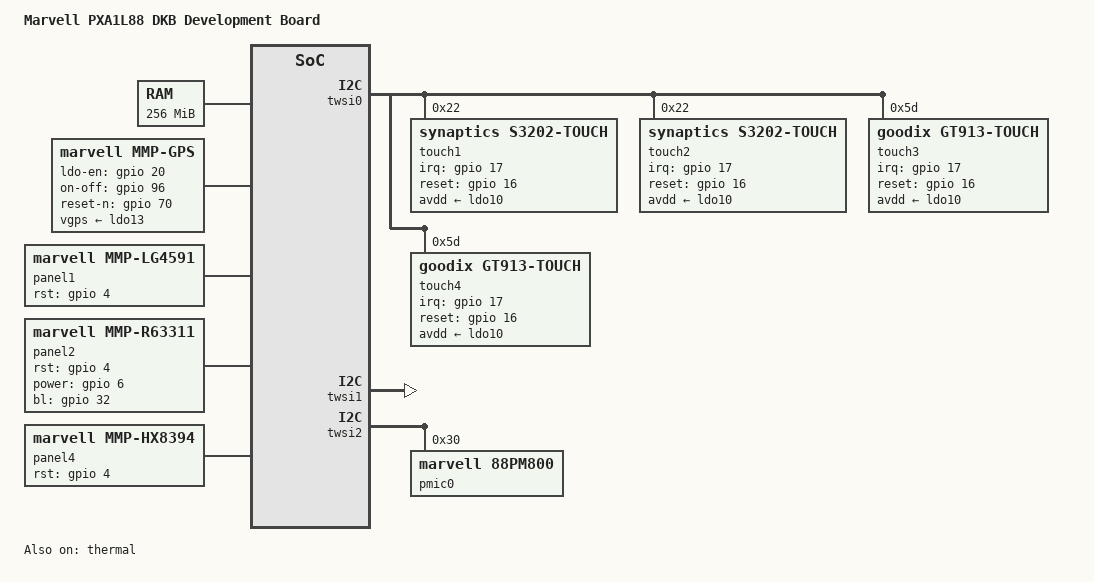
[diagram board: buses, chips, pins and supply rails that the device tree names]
/*
 *  Copyright (C) 2012 Marvell Technology Group Ltd.
 *  Author: Haojian Zhuang <haojian.zhuang@marvell.com>
 *
 *  This program is free software; you can redistribute it and/or modify
 *  it under the terms of the GNU General Public License version 2 as
 *  publishhed by the Free Software Foundation.
 */

#include "pxa1088.dtsi"

/ {
	model = "Marvell PXA1L88 DKB Development Board";

	chosen {
		bootargs = "console=ttyS0,115200 root=/dev/nfs nfsroot=192.168.1.100:/nfsroot/ ip=192.168.1.101:192.168.1.100::255.255.255.0::eth0:on";
	};

	memory {
		reg = <0x00000000 0x10000000>;
	};

	soc {
		ddr@c0100000 {  /* DDR memory controller */
			status = "okay";
		};

		apb@d4000000 {
			edgewakeup: edgewakeup@d4019800 {
				status = "ok";
			};

			keypad: keypad@d4012000 {
				keypad,num-rows = <2>;
				keypad,num-columns = <1>;
				linux,keymap = <0x00000073
						0x01000072>;
				marvell,debounce-interval = <30>;
				pinctrl-names = "default";
				pinctrl-0 = <&keypad_in_func  &keypad_out_func>;
				status = "okay";
			};

			keyreset {
				compatible = "marvell,keyreset";
				keys-down = <0x73 0x72>;
				keyreset-need-panic;
			};

			thermal: thermal@d4013200 {
				compatible = "marvell,pxa-thermal";
				reg = <0xd4013200 0x50>;
				interrupts = <0 60 0x4>;
				trigger_levels_count = <4>;
				type = <2>;
				status = "ok";
			};

			pmx: pinmux@d401e000 {
				/* pin base, nr pins & gpio function */
				pinctrl-single,gpio-range = <
					/*
					 * GPIO number is hardcoded for range at here.
					 * In gpio chip, GPIO number is not hardcoded for range.
					 * Since one gpio pin may be routed to multiple pins,
					 * define these gpio range in pxa910-dkb.dts not pxa910.dtsi.
					 */
					&range 55 55 0	/* GPIO0 ~ GPIO54 */
					&range 110 32 0 /* GPIO67 ~ GPIO98 */
					&range 52 1 0	/* GPIO124 */
				>;
				pinctrl-names = "default";
				pinctrl-0 = <&mfp_pins_group_0 &mfp_pins_group_1 &mfp_pins_group_2 &mfp_pins_group_3 &mfp_pins_group_4 &mfp_pins_group_5 &mfp_pins_group_6 &mfp_pins_group_7>;
				/* MFP_LPM_FLOAT */
				mfp_pins_group_0: mfp_pins_group_0 {
					pinctrl-single,pins = <
						DF_IO8 AF0
						DF_IO9 AF0
						DF_IO10 AF0
						DF_IO11 AF0
						DF_IO12 AF0
						DF_IO13 AF0
						DF_IO14 AF0
						DF_IO15 AF0
						DF_WEn AF1
						DF_REn AF1
						DF_ALE_SM_WEn AF1
						DF_RDY0 AF0
					>;
					MFP_LPM_FLOAT;
				};

				/* MFP_PULL_LOW && MFP_LPM_PULL_FLOAT */
				mfp_pins_group_1: mfp_pins_group_1 {
					pinctrl-single,pins = <
						DF_nCS0_SM_nCS2 AF0
						DF_nCS1_SM_nCS3 AF1
						SM_nCS1 AF1
						GPIO15 AF0
						GPIO72 AF0
					>;
					DS_MEDIUM;PULL_DOWN;EDGE_NONE;LPM_FLOAT;
				};

				/* MFP_PULL_LOW && LPM_OUTPUT_DRIVE_LOW */
				mfp_pins_group_2: mfp_pins_group_2 {
					pinctrl-single,pins = <
						GPIO18 AF0
					>;
					DS_MEDIUM;PULL_DOWN;EDGE_NONE;LPM_DRIVE_LOW;
				};

				/* MFP_PULL_LOW */
				mfp_pins_group_3: mfp_pins_group_3 {
					pinctrl-single,pins = <
						GPIO70 AF0
						GPIO97 AF0
						GPIO43 AF0
						GPIO44 AF0
						GPIO49 AF0
						GPIO50 AF0
						GPIO90 AF0
						GPIO92 AF0
						GPIO98 AF0
					>;
					MFP_PULL_DOWN;
				};

				/* MFP_PULL_HIGH */
				mfp_pins_group_4: mfp_pins_group_4 {
					pinctrl-single,pins = <
						SM_RDY_GPIO_3 AF1
						GPIO14 AF0
						GPIO91 AF0
					>;
					MFP_PULL_UP;
				};

				/* MFP_PULL_FLOAT */
				mfp_pins_group_5: mfp_pins_group_5 {
					pinctrl-single,pins = <
						GPIO4 AF0
						GPIO20 AF0
						GPIO36 AF0
						GPIO96 AF0
						GPIO67 AF0
						GPIO68 AF0
						GPIO69 AF0
						GPIO80 AF0
					>;
					MFP_PULL_FLOAT;
				};

				/* MFP_PULL_FLOAT && MFP_LPM_PULL_FLOAT */
				mfp_pins_group_6: mfp_pins_group_6 {
					pinctrl-single,pins = <
						GPIO32 AF0
						GPIO12 AF0
					>;
					DS_MEDIUM;PULL_FLOAT;EDGE_NONE;LPM_FLOAT;
				};

				/* MFP_DEFAULT */
				mfp_pins_group_7: mfp_pins_group_7 {
					pinctrl-single,pins = <
						GPIO124 AF0
						GPIO3 AF0
						GPIO5 AF0
						GPIO6 AF0
						GPIO11 AF0
						GPIO13 AF0
						GPIO19 AF0
						GPIO10 AF0
						GPIO30 AF0
						GPIO31 AF0
						GPIO33 AF0
						GPIO34 AF0
						GPIO35 AF0
						GPIO51 AF1
						GPIO52 AF1
						GPIO73 AF0
						GPIO74 AF0
						GPIO75 AF0
						GPIO76 AF0
						GPIO77 AF1
						GPIO78 AF0
						GPIO79 AF0
					>;
					MFP_DEFAULT;
				};
				keypad_in_func: keypad_in_func {
					pinctrl-single,pins = <
						GPIO0 AF1
						GPIO2 AF1
					>;
					MFP_DEFAULT;
				};

				keypad_out_func: keypad_out_func {
					pinctrl-single,pins = <
						GPIO1 AF1
					>;
					DS_MEDIUM;PULL_FLOAT;EDGE_NONE;LPM_DRIVE_HIGH;
				};

				twsi0_pmx_func: twsi0_pmx_func {
					pinctrl-single,pins = <
						GPIO53 AF2
						GPIO54 AF2
					>;
					MFP_LPM_FLOAT;
				};
				twsi0_pmx_gpio: twsi0_pmx_gpio {
					pinctrl-single,pins = <
						GPIO53 AF0
						GPIO54 AF0
					>;
					MFP_LPM_FLOAT;
				};
				twsi1_pmx_func: twsi1_pmx_func {
					pinctrl-single,pins = <
						GPIO87 AF5
						GPIO88 AF5
					>;
					MFP_LPM_FLOAT;
				};
				twsi1_pmx_gpio: twsi1_pmx_gpio {
					pinctrl-single,pins = <
						GPIO87 AF0
						GPIO88 AF0
					>;
					MFP_LPM_FLOAT;
				};
				touch_pins: touch_pins {
					pinctrl-single,pins = <
						GPIO16 AF0
						GPIO17 AF0
					>;
					MFP_LPM_FLOAT;
				};

				gps_pmx_eclk: gps_pmx_eclk {
					/* eclk */
					pinctrl-single,pins = <
						GPIO89 AF5
					>;
					MFP_DEFAULT;
				};

				gps_pmx_gpio: gps_pmx_gpio {
					/* gpio */
					pinctrl-single,pins = <
						GPIO89 AF0
					>;
					MFP_DEFAULT;
				};

				/* no pull, no LPM */
				dvc_pmx_func: dvc_pmx_func {
					pinctrl-single,pins = <
						GPIO93 AF5
						GPIO94 AF5
					>;
					MFP_DEFAULT;
				};
			};

			twsi0: i2c@d4011000 {
				pinctrl-names = "default","gpio";
				pinctrl-0 = <&twsi0_pmx_func>;
				pinctrl-1 = <&twsi0_pmx_gpio>;
				i2c-gpio = <&gpio 53 0 &gpio 54 0>;
				status = "okay";

				touch1: s3202@720p {
					compatible = "synaptics,s3202-touch";
					pinctrl-names = "default"; pinctrl-0 = <&touch_pins>;
					reg = <0x22>;
					interrupt-parent = <&gpio>;
					interrupts = <17 0x1>;
					/* IRQF_ONESHOT | IRQF_TRIGGER_FALLING */
					synaptics,irq-flags =  <0x2002>;
					synaptics,irq-gpios = <&gpio 17 0>;
					synaptics,reset-gpios = <&gpio 16 0>;
					synaptics,sensor_res_x = <720>;
					synaptics,sensor_res_y = <1280>;
					synaptics,sensor_max_x = <798>;
					synaptics,sensor_max_y = <1392>;
					synaptics,sensor_margin_x = <39>;
					synaptics,sensor_margin_y = <0>;
					avdd-supply = <&ldo10>;
				};

				touch2: s3202@1080p {
					compatible = "synaptics,s3202-touch";
					pinctrl-names = "default"; pinctrl-0 = <&touch_pins>;
					reg = <0x22>;
					interrupt-parent = <&gpio>;
					interrupts = <17 0x1>;
					/* IRQF_ONESHOT | IRQF_TRIGGER_FALLING */
					synaptics,irq-flags =  <0x2002>;
					synaptics,irq-gpios = <&gpio 17 0>;
					synaptics,reset-gpios = <&gpio 16 0>;
					synaptics,sensor_res_x = <1080>;
					synaptics,sensor_res_y = <1920>;
					synaptics,sensor_max_x = <1080>;
					synaptics,sensor_max_y = <2070>;
					synaptics,sensor_margin_x = <0>;
					synaptics,sensor_margin_y = <0>;
					avdd-supply = <&ldo10>;
				};

				touch3: gt913@720p {
					compatible = "goodix,gt913-touch";
					pinctrl-names = "default"; pinctrl-0 = <&touch_pins>;
					reg = <0x5d>;
					interrupt-parent = <&gpio>;
					interrupts = <17 0x1>;
					irq-gpios = <&gpio 17 0>;
					reset-gpios = <&gpio 16 0>;
					goodix,cfg-group = <0>;
					goodix,max-height = <1280>;
					goodix,max-width = <720>;
					avdd-supply = <&ldo10>;
				};

				touch4: gt913@1080p {
					compatible = "goodix,gt913-touch";
					pinctrl-names = "default"; pinctrl-0 = <&touch_pins>;
					reg = <0x5d>;
					interrupt-parent = <&gpio>;
					interrupts = <17 0x1>;
					irq-gpios = <&gpio 17 0>;
					reset-gpios = <&gpio 16 0>;
					goodix,cfg-group = <0>;
					goodix,max-height = <1920>;
					goodix,max-width = <1080>;
					avdd-supply = <&ldo10>;
				};
			};

			twsi1: i2c@d4010800 {
				pinctrl-names = "default","gpio";
				pinctrl-0 = <&twsi1_pmx_func>;
				pinctrl-1 = <&twsi1_pmx_gpio>;
				i2c-gpio = <&gpio 87 0 &gpio 88 0>;
				status = "okay";
			};

			twsi2: i2c@d4037000 {
				status = "okay";

				pmic0: 88pm822@30 {
					compatible = "marvell,88pm800";
					reg = <0x30>;
					interrupts = <0 4 0x4>;
					interrupt-parent = <&gic>;
					interrupt-controller;
					#interrupt-cells = <1>;
					marvell,88pm800-irq-write-clear;
					dvc {
						pinctrl-names = "default";
						pinctrl-0 = <&dvc_pmx_func>;
						status = "okay";
					};
				};
			};
		};
	};

	gps: mmp-gps {
		compatible = "marvell,mmp-gps";
		marvell,gps-eclk-ctrl;

		vgps-supply = <&ldo13>;

		pinctrl-names = "default", "idle";
		pinctrl-0 = <&gps_pmx_eclk>;
		pinctrl-1 = <&gps_pmx_gpio>;

		ldo-en-gpio = <&gpio 20 0>;
		on-off-gpio = <&gpio 96 0>;
		reset-n-gpio = <&gpio 70 0>;
	};

	touch: vnc {
		compatible = "vnc-ts";
	};

	ion {
		marvell,ion-nr = <2>;
		status = "okay";
		heap1 {
			marvell,ion-name = "carveout_heap";
			marvell,ion-type = <2>;
			marvell,ion-id = <2>;
			marvell,ion-base = <0>;
			marvell,ion-size = <0>;
		};
		heap2 {
			marvell,ion-name = "system_heap";
			marvell,ion-type = <0>;
			marvell,ion-id = <0>;
		};
	};

	panel1: lg4591 {
		compatible = "marvell,mmp-lg4591";
		marvell,path-name = "mmp_pnpath";
		panel_esd = <0>;
		rst_gpio = <&gpio 4 0>;
		status = "okay";
	};

	panel2: r63311 {
		compatible = "marvell,mmp-r63311";
		marvell,path-name = "mmp_pnpath";
		marvell,ddrfreq-qos = <312000>; /* DDR_CONSTRAINT_LVL1 */
		rst_gpio = <&gpio 4 0>;
		power_gpio = <&gpio 6 0>;
		bl_gpio = <&gpio 32 0>;
		status = "okay";
	};

	panel4: hx8394 {
		compatible = "marvell,mmp-hx8394";
		marvell,path-name = "mmp_pnpath";
		panel_esd = <0>;
		rst_gpio = <&gpio 4 0>;
		status = "okay";
	};
};
#include "88pm822.dtsi"
#include "88pm822_pxa1L88_dkb.dtsi"
